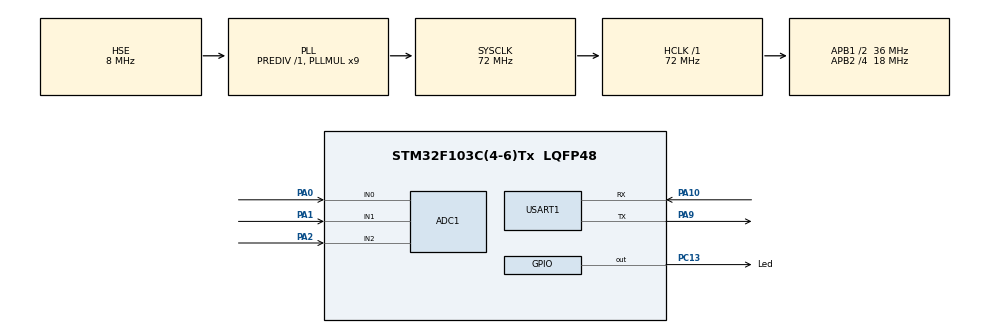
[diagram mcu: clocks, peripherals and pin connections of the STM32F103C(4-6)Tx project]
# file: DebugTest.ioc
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ADC1.Channel-0\#ChannelRegularConversion=ADC_CHANNEL_0
ADC1.Channel-1\#ChannelRegularConversion=ADC_CHANNEL_1
ADC1.Channel-2\#ChannelRegularConversion=ADC_CHANNEL_2
ADC1.ContinuousConvMode=ENABLE
ADC1.NbrOfConversion=3
ADC1.NbrOfConversionFlag=1
ADC1.Rank-0\#ChannelRegularConversion=1
ADC1.Rank-1\#ChannelRegularConversion=2
ADC1.Rank-2\#ChannelRegularConversion=3
ADC1.SamplingTime-0\#ChannelRegularConversion=ADC_SAMPLETIME_28CYCLES_5
ADC1.SamplingTime-1\#ChannelRegularConversion=ADC_SAMPLETIME_28CYCLES_5
ADC1.SamplingTime-2\#ChannelRegularConversion=ADC_SAMPLETIME_28CYCLES_5
ADC1.master=1
Dma.ADC1.0.Direction=DMA_PERIPH_TO_MEMORY
Dma.ADC1.0.Instance=DMA1_Channel1
Dma.ADC1.0.MemDataAlignment=DMA_MDATAALIGN_HALFWORD
Dma.ADC1.0.MemInc=DMA_MINC_ENABLE
Dma.ADC1.0.Mode=DMA_CIRCULAR
Dma.ADC1.0.PeriphDataAlignment=DMA_PDATAALIGN_HALFWORD
Dma.ADC1.0.PeriphInc=DMA_PINC_DISABLE
Dma.ADC1.0.Priority=DMA_PRIORITY_LOW
Dma.Request0=ADC1
Mcu.Family=STM32F1
Mcu.Name=STM32F103C(4-6)Tx
Mcu.Package=LQFP48
NVIC.DMA1_Channel1_IRQn=true\:0\:0\:false\:false\:true\:false\:true\:true
NVIC.PriorityGroup=NVIC_PRIORITYGROUP_4
PA0-WKUP.Signal=ADCx_IN0
PA1.Signal=ADCx_IN1
PA10.Mode=Asynchronous
PA10.Signal=USART1_RX
PA13.Mode=Serial_Wire
PA13.Signal=SYS_JTMS-SWDIO
PA14.Mode=Serial_Wire
PA14.Signal=SYS_JTCK-SWCLK
PA2.Signal=ADCx_IN2
PA9.Mode=Asynchronous
PA9.Signal=USART1_TX
PC13-TAMPER-RTC.GPIO_Label=Led
PC13-TAMPER-RTC.Signal=GPIO_Output
PD0-OSC_IN.Mode=HSE-External-Oscillator
PD0-OSC_IN.Signal=RCC_OSC_IN
PD1-OSC_OUT.Mode=HSE-External-Oscillator
PD1-OSC_OUT.Signal=RCC_OSC_OUT
ProjectManager.HeapSize=0x200
ProjectManager.StackSize=0x400
ProjectManager.TargetToolchain=STM32CubeIDE
RCC.AHBFreq_Value=72000000
RCC.APB1CLKDivider=RCC_HCLK_DIV2
RCC.APB1Freq_Value=36000000
RCC.APB1TimFreq_Value=72000000
RCC.APB2CLKDivider=RCC_HCLK_DIV4
RCC.APB2Freq_Value=18000000
RCC.APB2TimFreq_Value=36000000
RCC.HCLKFreq_Value=72000000
RCC.PLLMUL=RCC_PLL_MUL9
RCC.PLLSourceVirtual=RCC_PLLSOURCE_HSE
RCC.SYSCLKFreq_VALUE=72000000
RCC.SYSCLKSource=RCC_SYSCLKSOURCE_PLLCLK
RCC.USBFreq_Value=72000000
SH.ADCx_IN0.0=ADC1_IN0,IN0
SH.ADCx_IN1.0=ADC1_IN1,IN1
SH.ADCx_IN2.0=ADC1_IN2,IN2
USART1.VirtualMode=VM_ASYNC
board=custom

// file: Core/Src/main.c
/* USER CODE BEGIN Header */
/**
  ******************************************************************************
  * @file           : main.c
  * @brief          : Main program body
  ******************************************************************************
  * @attention
  *
  * Copyright (c) 2026 STMicroelectronics.
  * All rights reserved.
  *
  * This software is licensed under terms that can be found in the LICENSE file
  * in the root directory of this software component.
  * If no LICENSE file comes with this software, it is provided AS-IS.
  *
  ******************************************************************************
  */
/* USER CODE END Header */
#include "main.h"
#include "stdio.h"
#include "string.h"

/* USER CODE BEGIN PTD */
typedef enum {
Led_Ligado=1,
Led_Desligado=0
}LedStatus;

typedef enum {
BreakPoint1=0,
BreakPoint2=1,
BreakPoint3=2,
BreakPoint4=3
}DebugBrkPt;

enum {
	AN0 = 0,
	AN1 = 1,
	AN2 = 2
}ADC_Channel;

/* USER CODE END PTD */

ADC_HandleTypeDef hadc1;
DMA_HandleTypeDef hdma_adc1;

UART_HandleTypeDef huart1;
uint8_t ContVar=0;
DebugBrkPt BreakPoint;
//*********************************************************************************
/* Declaração global para que o DMA e o Loop Principal acessem o mesmo endereço */
volatile uint16_t AdcBuffer[3];
//*********************************************************************************
char mensagem[10];
uint16_t valorAdc1;
float ValorVolt1;
float ValorVolt2;
float ValorVolt3;

void SystemClock_Config(void);
static void MX_GPIO_Init(void);
static void MX_DMA_Init(void);
static void MX_ADC1_Init(void);
static void MX_USART1_UART_Init(void);
float RetornaVolt (uint8_t QtdDados, uint8_t Canal_ADC);

int main(void)
{

  /* MCU Configuration--------------------------------------------------------*/

  /* Reset of all peripherals, Initializes the Flash interface and the Systick. */
  HAL_Init();

  /* Configure the system clock */
  SystemClock_Config();

  /* Initialize all configured peripherals */
  MX_GPIO_Init();
  MX_DMA_Init();
  MX_ADC1_Init();
  MX_USART1_UART_Init();
  /* USER CODE BEGIN 2 */
  HAL_ADCEx_Calibration_Start(&hadc1); // Inicia o ADC no Modo DMA para multiplos canais
  HAL_ADC_Start_DMA(&hadc1, (uint32_t *)AdcBuffer, 3); //O uso do cast aqui é para suprimir o conflito com o a declaração generica dessa função
  uint16_t ContaCiclosWhile1=0;

  /* USER CODE END 2 */

  /* Infinite loop */
  while (1)
  {

    /* USER CODE BEGIN 3 */

	  valorAdc1 = AdcBuffer[AN0]; //num codigo mais limpo podemos suprimir a atibuição "valorAdcX = AdcBuffer[X]" e usar o valor diretamente do vetor
	  BreakPoint = BreakPoint1;
	  ValorVolt1 = valorAdc1*(3.3/4096);

	  ValorVolt2 = RetornaVolt(20,AN1); //Função para retornar o valor em volt com uso de uma média
	  ValorVolt3 = RetornaVolt(20,AN2);
	  BreakPoint = BreakPoint3;

  	  sprintf(mensagem, "SEND MSG\n");
	  HAL_UART_Transmit(&huart1, (uint8_t*)mensagem, strlen(mensagem), 10);
	  ContaCiclosWhile1++; //contador para acompanhar os ciclos de execução do while true - estoura em 65535
	  BreakPoint = BreakPoint4;

	  HAL_Delay(50);
  }
  /* USER CODE END 3 */
}

void SystemClock_Config(void)
{
  RCC_OscInitTypeDef RCC_OscInitStruct = {0};
  RCC_ClkInitTypeDef RCC_ClkInitStruct = {0};
  RCC_PeriphCLKInitTypeDef PeriphClkInit = {0};

  /** Initializes the RCC Oscillators according to the specified parameters
  * in the RCC_OscInitTypeDef structure.
  */
  RCC_OscInitStruct.OscillatorType = RCC_OSCILLATORTYPE_HSE;
  RCC_OscInitStruct.HSEState = RCC_HSE_ON;
  RCC_OscInitStruct.HSEPredivValue = RCC_HSE_PREDIV_DIV1;
  RCC_OscInitStruct.HSIState = RCC_HSI_ON;
  RCC_OscInitStruct.PLL.PLLState = RCC_PLL_ON;
  RCC_OscInitStruct.PLL.PLLSource = RCC_PLLSOURCE_HSE;
  RCC_OscInitStruct.PLL.PLLMUL = RCC_PLL_MUL9;
  if (HAL_RCC_OscConfig(&RCC_OscInitStruct) != HAL_OK)
  {
    Error_Handler();
  }

  /** Initializes the CPU, AHB and APB buses clocks
  */
  RCC_ClkInitStruct.ClockType = RCC_CLOCKTYPE_HCLK|RCC_CLOCKTYPE_SYSCLK
                              |RCC_CLOCKTYPE_PCLK1|RCC_CLOCKTYPE_PCLK2;
  RCC_ClkInitStruct.SYSCLKSource = RCC_SYSCLKSOURCE_PLLCLK;
  RCC_ClkInitStruct.AHBCLKDivider = RCC_SYSCLK_DIV1;
  RCC_ClkInitStruct.APB1CLKDivider = RCC_HCLK_DIV2;
  RCC_ClkInitStruct.APB2CLKDivider = RCC_HCLK_DIV4;

  if (HAL_RCC_ClockConfig(&RCC_ClkInitStruct, FLASH_LATENCY_2) != HAL_OK)
  {
    Error_Handler();
  }
  PeriphClkInit.PeriphClockSelection = RCC_PERIPHCLK_ADC;
  PeriphClkInit.AdcClockSelection = RCC_ADCPCLK2_DIV2;
  if (HAL_RCCEx_PeriphCLKConfig(&PeriphClkInit) != HAL_OK)
  {
    Error_Handler();
  }
}

static void MX_ADC1_Init(void)
{

  ADC_ChannelConfTypeDef sConfig = {0};

  /** Common config
  */
  hadc1.Instance = ADC1;
  hadc1.Init.ScanConvMode = ADC_SCAN_ENABLE;
  hadc1.Init.ContinuousConvMode = ENABLE;
  hadc1.Init.DiscontinuousConvMode = DISABLE;
  hadc1.Init.ExternalTrigConv = ADC_SOFTWARE_START;
  hadc1.Init.DataAlign = ADC_DATAALIGN_RIGHT;
  hadc1.Init.NbrOfConversion = 3;
  if (HAL_ADC_Init(&hadc1) != HAL_OK)
  {
    Error_Handler();
  }

  /** Configure Regular Channel
  */
  sConfig.Channel = ADC_CHANNEL_0;
  sConfig.Rank = ADC_REGULAR_RANK_1;
  sConfig.SamplingTime = ADC_SAMPLETIME_28CYCLES_5;
  if (HAL_ADC_ConfigChannel(&hadc1, &sConfig) != HAL_OK)
  {
    Error_Handler();
  }

  /** Configure Regular Channel
  */
  sConfig.Channel = ADC_CHANNEL_1;
  sConfig.Rank = ADC_REGULAR_RANK_2;
  if (HAL_ADC_ConfigChannel(&hadc1, &sConfig) != HAL_OK)
  {
    Error_Handler();
  }

  /** Configure Regular Channel
  */
  sConfig.Channel = ADC_CHANNEL_2;
  sConfig.Rank = ADC_REGULAR_RANK_3;
  if (HAL_ADC_ConfigChannel(&hadc1, &sConfig) != HAL_OK)
  {
    Error_Handler();
  }

}

static void MX_USART1_UART_Init(void)
{

  huart1.Instance = USART1;
  huart1.Init.BaudRate = 115200;
  huart1.Init.WordLength = UART_WORDLENGTH_8B;
  huart1.Init.StopBits = UART_STOPBITS_1;
  huart1.Init.Parity = UART_PARITY_NONE;
  huart1.Init.Mode = UART_MODE_TX_RX;
  huart1.Init.HwFlowCtl = UART_HWCONTROL_NONE;
  huart1.Init.OverSampling = UART_OVERSAMPLING_16;
  if (HAL_UART_Init(&huart1) != HAL_OK)
  {
    Error_Handler();
  }

}

static void MX_DMA_Init(void)
{

  /* DMA controller clock enable */
  __HAL_RCC_DMA1_CLK_ENABLE();

  /* DMA interrupt init */
  /* DMA1_Channel1_IRQn interrupt configuration */
  HAL_NVIC_SetPriority(DMA1_Channel1_IRQn, 0, 0);
  HAL_NVIC_EnableIRQ(DMA1_Channel1_IRQn);

}

static void MX_GPIO_Init(void)
{
  GPIO_InitTypeDef GPIO_InitStruct = {0};

  /* GPIO Ports Clock Enable */
  __HAL_RCC_GPIOC_CLK_ENABLE();
  __HAL_RCC_GPIOD_CLK_ENABLE();
  __HAL_RCC_GPIOA_CLK_ENABLE();

  /*Configure GPIO pin Output Level */
  HAL_GPIO_WritePin(Led_GPIO_Port, Led_Pin, GPIO_PIN_RESET);

  /*Configure GPIO pin : Led_Pin */
  GPIO_InitStruct.Pin = Led_Pin;
  GPIO_InitStruct.Mode = GPIO_MODE_OUTPUT_PP;
  GPIO_InitStruct.Pull = GPIO_NOPULL;
  GPIO_InitStruct.Speed = GPIO_SPEED_FREQ_LOW;
  HAL_GPIO_Init(Led_GPIO_Port, &GPIO_InitStruct);

}

/* USER CODE BEGIN 4 */
//************************************************** FUNÇÔES CRIADAS MOZART ***************************************************************************
float RetornaVolt (uint8_t QtdDados, uint8_t Canal_ADC)
{
	uint8_t ContLocal=0;
	uint32_t SomaLocal=0;
	while(ContLocal<QtdDados)
	{
		SomaLocal+= AdcBuffer[Canal_ADC];
		ContLocal++;
		HAL_Delay(1);
	}
	float MediaLocal = (float)SomaLocal/QtdDados;
	float VoltLocal = MediaLocal*(3.3/4096);
	BreakPoint = BreakPoint2;
	return(VoltLocal);
}
//*****************************************************************************************************************************************************

/* USER CODE END 4 */

void Error_Handler(void)
{
  __disable_irq();
  while (1)
  {
  }
}
